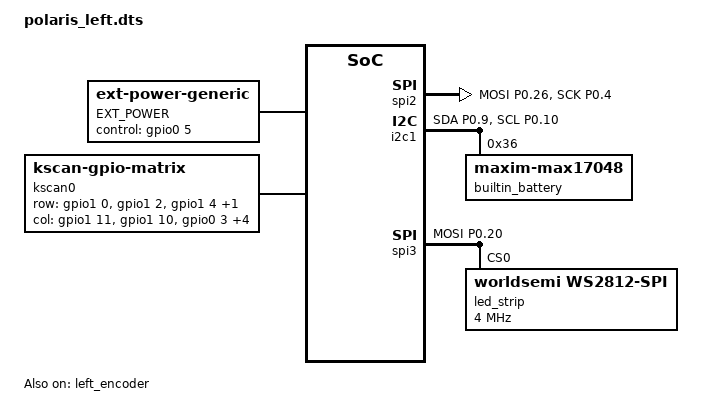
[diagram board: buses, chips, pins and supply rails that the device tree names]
/dts-v1/;
#include "polaris.dtsi"
#include <rgb_fx.dtsi>
#include <dt-bindings/led/led.h>
#include <dt-bindings/zmk/rgb_fx.h>
#include "polaris_left_animation_zones.h"

/ {
	EXT_POWER {
		compatible = "zmk,ext-power-generic";
		control-gpios = <&gpio0 5 GPIO_ACTIVE_HIGH>;
		init-delay-ms = <50>;
	};
	rgb-fx {
		compatible = "zmk,rgb-fx";
		drivers = <&led_strip>;
		chain-lengths = <35>;

		key-pixels = <>;

		pixels
			= <&pixel 0 0>
			, <&pixel 7 0>
			, <&pixel 14 0>
			, <&pixel 21 0>
			, <&pixel 28 0>
			, <&pixel 35 0>
			, <&pixel 42 0>
			, <&pixel 49 0>
			, <&pixel 56 0>
			, <&pixel 63 0>
			, <&pixel 70 0>
			, <&pixel 77 0>
			, <&pixel 84 0>
			, <&pixel 91 0>
			, <&pixel 98 0>
			, <&pixel 105 0>
			, <&pixel 112 0>
			, <&pixel 119 0>
			, <&pixel 126 0>
			, <&pixel 133 0>
			, <&pixel 140 0>
			, <&pixel 147 0>
			, <&pixel 154 0>
			, <&pixel 161 0>
			, <&pixel 168 0>
			, <&pixel 175 0>
			, <&pixel 182 0>
			, <&pixel 189 0>
			, <&pixel 196 0>
			, <&pixel 203 0>
			, <&pixel 210 0>
			, <&pixel 217 0>
			, <&pixel 224 0>
			, <&pixel 231 0>
			, <&pixel 238 0>
			;

		root_animation: animation_100 {
			compatible = "zmk,rgb-fx-compose";
			status = "okay";

			fx = <
				&main_animations
				// &bt_indicator_1
			>;
		};

		main_animations: animation_0 {
			compatible = "zmk,rgb-fx-control-group";
			status = "okay";

			fx = <
				&blue_sparkle
				&white_sparkle
				&red_sparkle
				&bootloader_all
				&bootloader_status
				&layer_indicator
				&all_indicators
				&blue_solid
				&red_solid
				&white_solid
				&wpm_indicator
				&basic_gradient
				&rgb_static_gradient
				&hsl_static_gradient
				&rgb_gradient
				&wpm_compose
				&rainbow
			>;
		};

		blue_sparkle: animation_1 {
			compatible = "zmk,rgb-fx-sparkle";
			status = "okay";

			pixels = <ZONE_STRIP>;
			duration = <10>;
			colors = <
				HSL(172, 70, 50)
				HSL(189, 70, 50)
			>;
		};

		white_sparkle: animation_2 {
			compatible = "zmk,rgb-fx-sparkle";
			status = "okay";

			pixels = <ZONE_STRIP>;
			duration = <10>;
			colors = <HSL(0, 50, 100)>;
		};

		red_sparkle: animation_3 {
			compatible = "zmk,rgb-fx-sparkle";
			status = "okay";

			pixels = <ZONE_STRIP>;
			duration = <10>;
			colors = <
				HSL(355, 70, 55)
				HSL(10, 70, 55)
			>;
		};

		bootloader_all: animation_4 {
			compatible = "zmk,rgb-fx-compose";
			status = "okay";

			fx = <&bootloader_write &bootloader_status>;
		};

		bootloader_status: animation_5 {
			compatible = "zmk,rgb-fx-solid";
			status = "okay";

			pixels = <ZONE_INDICATOR_L1>;
			colors = <HSL(120, 100, 55)>;
		};

		bootloader_write: animation_6 {
			compatible = "zmk,rgb-fx-solid";
			status = "okay";

			pixels = <ZONE_INDICATOR_L1_BG>;
			colors = <HSL(176, 100, 55)>;
		};

		bt_indicators: animation_7 {
			compatible = "zmk,rgb-fx-solid";
			status = "okay";

			pixels = <ZONE_INDICATOR_L1 ZONE_INDICATOR_L2 ZONE_INDICATOR_L3>;
			colors = <HSL(197, 100, 60)>;
		};

		layer_indicator: animation_8 {
			compatible = "zmk,rgb-fx-solid";
			status = "okay";

			pixels = <ZONE_INDICATOR_R1>;
			colors = <HSL(355, 100, 60)>;
		};

		indicator_bg: animation_9 {
			compatible = "zmk,rgb-fx-solid";
			status = "okay";

			pixels = <ZONE_INDICATOR_L3_BG ZONE_INDICATOR_R1_BG>;
			colors = <HSL(0, 0, 0)>;
		};

		all_indicators: animation_10 {
			compatible = "zmk,rgb-fx-compose";
			status = "okay";

			fx = <
				&white_sparkle
				&indicator_bg
				&bt_indicators
				&layer_indicator
			>;
		};

		blue_solid: animation_11 {
			compatible = "zmk,rgb-fx-solid";
			status = "okay";

			pixels = <0 1 2 3 4 5 6 7 8 9 10 11 12 13 14 15 16 17 18 19 20 21 22 23 24>;
			colors = <HSL(187, 100, 59)>;
		};

		red_solid: animation_12 {
			compatible = "zmk,rgb-fx-solid";
			status = "okay";

			pixels = <0 1 2 3 4 5 6 7 8 9 10 11 12 13 14 15 16 17 18 19 20 21 22 23 24>;
			colors = <HSL(354, 100, 59)>;
		};

		white_solid: animation_13 {
			compatible = "zmk,rgb-fx-solid";
			status = "okay";

			pixels = <0 1 2 3 4 5 6 7 8 9 10 11 12 13 14 15 16 17 18 19 20 21 22 23 24>;
			colors = <HSL(0, 0, 100)>;
		};

		wpm_indicator: animation_14 {
			compatible = "zmk,rgb-fx-wpm";
			status = "okay";

			pixels = <ZONE_STRIP>;
			colors = <HSL(348, 95, 62) HSL(288, 95, 66)>;
			bounds = <0 238>;
			max-wpm = <100>;
			edge-gradient-width = <50>;
		};

		basic_gradient: animation_15 {
			compatible = "zmk,rgb-fx-linear-gradient";
			status = "okay";

			pixels = <ZONE_STRIP>;
			colors = <HSL(0, 100, 50) HSL(120, 100, 50) HSL(240, 100, 50)>;
			gradient-width = <255>;
			duration = <10>;
		};

		rgb_static_gradient: animation_16 {
			compatible = "zmk,rgb-fx-linear-gradient";
			status = "okay";

			pixels = <ZONE_STRIP>;
			colors = <HSL(232, 35, 25) HSL(94, 93, 71)>;
			use-rgb-interpolation;
		};

		hsl_static_gradient: animation_17 {
			compatible = "zmk,rgb-fx-linear-gradient";
			status = "okay";

			pixels = <ZONE_STRIP>;
			colors = <HSL(232, 35, 25) HSL(94, 93, 71)>;
		};

		rgb_gradient: animation_18 {
			compatible = "zmk,rgb-fx-linear-gradient";
			status = "okay";

			pixels = <ZONE_STRIP>;
			colors = <HSL(180, 100, 71) HSL(305, 100, 65)>;
			gradient-width = <150>;
			duration = <10>;
			use-rgb-interpolation;
		};

		// bt_indicator_1: animation_19 {
		// 	compatible = "zmk,rgb-fx-bt-indicator";
		// 	status = "okay";
		//
		// 	pixels = <ZONE_INDICATOR_L1>;
		// 	backdrop-pixels = <ZONE_INDICATOR_L1_BG>;
		//
		// 	color = <HSL(209, 100, 49)>;
		// 	// backdrop-color = <HSL(1, 0, 0)>;
		//
		// 	profile-index = <0>;
		// };

		wpm_left: animation_20 {
			compatible = "zmk,rgb-fx-wpm";
			status = "okay";

			pixels = <ZONE_STRIP_LEFT ZONE_STRIP_CENTER>;
			colors = <HSL(205, 100, 60) HSL(320, 100, 50)>;
			bounds = <84 0>;
			max-wpm = <100>;
			blending-mode = "multiply";
			edge-gradient-width = <30>;
		};

		wpm_right: animation_21 {
			compatible = "zmk,rgb-fx-wpm";
			status = "okay";

			pixels = <ZONE_STRIP_RIGHT>;
			colors = <HSL(205, 100, 60) HSL(320, 100, 50)>;
			bounds = <154 238>;
			max-wpm = <100>;
			blending-mode = "multiply";
			edge-gradient-width = <30>;
		};

		wpm_compose: animation_22 {
			compatible = "zmk,rgb-fx-compose";
			status = "okay";

			fx = <&white_sparkle &wpm_left &wpm_right>;
		};

		rainbow_border: animation_23 {
			compatible = "zmk,rgb-fx-static";
			status = "okay";

			pixels = <ZONE_RAINBOW_BORDER>;
			colors = <
				HSL(0, 0, 100) HSL(0, 0, 67) HSL(0, 0, 50)
				HSL(0, 0, 50) HSL(0, 0, 67) HSL(0, 0, 100)
			>;
			blending-mode = "multiply";
		};

		rainbow_colors: animation_24 {
			compatible = "zmk,rgb-fx-static";
			status = "okay";

			pixels = <ZONE_RAINBOW>;
			colors = <
				HSL(356, 94, 59) HSL(356, 94, 59)
				HSL(28, 100, 59) HSL(28, 100, 59)
				HSL(53, 100, 64) HSL(53, 100, 64)
				HSL(87, 58, 57) HSL(87, 58, 57)
				HSL(201, 85, 48) HSL(201, 85, 48)
				HSL(275, 63, 51) HSL(275, 63, 51)
			>;
		};

		rainbow_background: animation_25 {
			compatible = "zmk,rgb-fx-linear-gradient";
			status = "okay";

			pixels = <ZONE_STRIP>;
			colors = <HSL(220, 20, 30) HSL(223, 30, 80)>;
			gradient-width = <90>;
			duration = <8>;
		};

		rainbow: animation_26 {
			compatible = "zmk,rgb-fx-compose";
			status = "okay";

			fx = <&rainbow_background &rainbow_border &rainbow_colors>;
		};
	};
};

&pinctrl {
    spi2_default: spi2_default {
				group1 {
						psels = <NRF_PSEL(SPIM_MOSI, 0, 26)>,
						<NRF_PSEL(SPIM_SCK, 0, 4)>;
				};
		};
	
    spi2_sleep: spi2_sleep {
				group1 {
						psels = <NRF_PSEL(SPIM_MOSI, 0, 26)>,
						<NRF_PSEL(SPIM_SCK, 0, 4)>;
						low-power-enable;
				};
		};

    spi3_default: spi3_default {
				group1 {
						psels = <NRF_PSEL(SPIM_MOSI, 0, 20)>;
				};
		};
	
    spi3_sleep: spi3_sleep {
				group1 {
						psels = <NRF_PSEL(SPIM_MOSI, 0, 20)>;
						low-power-enable;
				};
		};
    i2c1_default: i2c1_default {
        group1 {
            psels = <NRF_PSEL(TWIM_SDA, 0, 9)>,
                <NRF_PSEL(TWIM_SCL, 0, 10)>;
						bias-pull-up;
        };
    };

    i2c1_sleep: i2c1_sleep {
        group1 {
            psels = <NRF_PSEL(TWIM_SDA, 0, 9)>,
                <NRF_PSEL(TWIM_SCL, 0, 10)>;
            low-power-enable;
						bias-pull-up;
        };
    };
};


lpm_view_spi: &spi2 {
    compatible = "nordic,nrf-spim";
    pinctrl-0 = <&spi2_default>;
    pinctrl-1 = <&spi2_sleep>;
    pinctrl-names = "default", "sleep";
    cs-gpios = <&gpio0 6 (GPIO_ACTIVE_HIGH | GPIO_PULL_DOWN) >;
};

nice_view_spi: &spi2 {
    compatible = "nordic,nrf-spim";
    pinctrl-0 = <&spi2_default>;
    pinctrl-1 = <&spi2_sleep>;
    pinctrl-names = "default", "sleep";
    cs-gpios = <&gpio0 6 (GPIO_ACTIVE_HIGH | GPIO_PULL_DOWN) >;
};


&i2c1 {
	compatible = "nordic,nrf-twi";
	pinctrl-0 = <&i2c1_default>;
	pinctrl-1 = <&i2c1_sleep>;
	pinctrl-names = "default", "sleep"; 
	

	builtin_battery: max17048@36 {
		compatible = "zmk,maxim-max17048";
		status = "okay";
		reg = <0x36>;
	};

	status = "okay";
};

&spi3 {
	compatible = "nordic,nrf-spim";
	status = "okay";
	pinctrl-0 = <&spi3_default>;
	pinctrl-1 = <&spi3_sleep>;
	pinctrl-names = "default", "sleep";

	led_strip: ws2812@0 {
				compatible ="worldsemi,ws2812-spi";
        /* SPI */
        reg = <0>; /* ignored, but necessary for SPI bindings */
        spi-max-frequency = <4000000>;

        /* WS2812 */
        chain-length = <32>; /* arbitrary; change at will */
        spi-one-frame = <0x70>;
        spi-zero-frame = <0x40>;

        color-mapping = <LED_COLOR_ID_GREEN LED_COLOR_ID_RED LED_COLOR_ID_BLUE>;
		};
};

&left_encoder {
    status = "okay";
};

&matrix_physical_layout {
  	kscan = <&kscan0>;
};

/ {
	chosen {
		zmk,physical-layout = &matrix_physical_layout;
		zmk,rgb_fx = &root_animation;
		zmk,battery =&builtin_battery;
	};
    kscan0: kscan {
        compatible = "zmk,kscan-gpio-matrix";
        wakeup-source;

        diode-direction = "col2row";
        row-gpios
            = <&gpio1 0 (GPIO_ACTIVE_HIGH | GPIO_PULL_DOWN)>
            , <&gpio1 2 (GPIO_ACTIVE_HIGH | GPIO_PULL_DOWN)>
            , <&gpio1 4 (GPIO_ACTIVE_HIGH | GPIO_PULL_DOWN)>
            , <&gpio1 9 (GPIO_ACTIVE_HIGH | GPIO_PULL_DOWN)>
            ;

    col-gpios
        = <&gpio1 11 (GPIO_ACTIVE_HIGH | GPIO_PULL_DOWN)>
            , <&gpio1 10 (GPIO_ACTIVE_HIGH | GPIO_PULL_DOWN)>
            , <&gpio0 3 (GPIO_ACTIVE_HIGH | GPIO_PULL_DOWN)>
            , <&gpio0 28 (GPIO_ACTIVE_HIGH | GPIO_PULL_DOWN)>
            , <&gpio1 13 (GPIO_ACTIVE_HIGH | GPIO_PULL_DOWN)>
            , <&gpio0 2 (GPIO_ACTIVE_HIGH | GPIO_PULL_DOWN)>
            , <&gpio0 29 (GPIO_ACTIVE_HIGH | GPIO_PULL_DOWN)>;
    };
};
